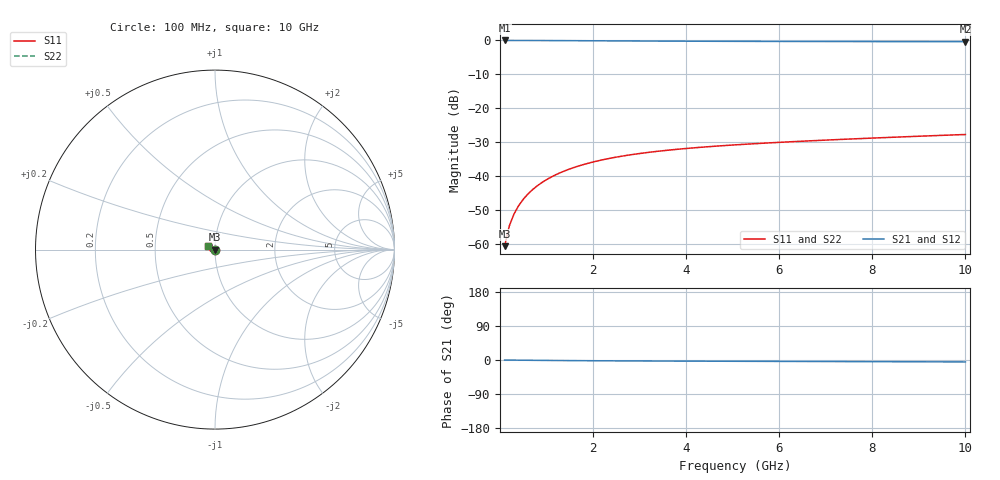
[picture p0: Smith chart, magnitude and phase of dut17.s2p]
! Touchstone file exported from HFSS 2024.1.0
!  File:  C:/UserFiles/LocalFiles/RDL_TSV_Batchsim/temp_TSV1_17_1779368717.aedt
!  Generated:  09:13:20 PM May 21, 2026
!  Design:  TSV1
!  Project:  temp_TSV1_17_1779368717
!  Setup:  Setup1
!  Solution:  Sweep
! Variables:
!  dtsv = 8.76um
!  hbump = 3um
!  htsv = 75.07um
!  lrdl = 252.1521522um
!  p = 40
!  p1 = 58.65um
!  t = 500um
!  trdl = 3um
!  wrdl = 24.89489489um
# GHz S MA R 50.000000
! Terminal data exported
! Port[1] = TSV22_T1
! Port[2] = TSV22_T2
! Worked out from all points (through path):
!   100 points, 100 MHz to 10 GHz, reference 50 ohm
!   highest |S21| = 0.00 dB at 100 MHz (marker M1); lowest = -0.4 dB at 10 GHz (marker M2)
!   lowest |S11| = -60.7 dB at 100 MHz (marker M3), VSWR 1.00, Z = 50 - j0.0916 ohm
!   |S11| at or under -10 dB: start of sweep to end of sweep
!   |S22| runs from -60.7 to -27.7 dB; largest |S21 - S12| = 7.7e-15
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0.1  0.0009275 -81.0  0.9998 -0.1  0.9998 -0.1  0.0009275 -81.0
! Gamma 0 0 0 0
! Port Impedance 50 0 50 0
0.2  0.001835 -88.6  0.9997 -0.2  0.9997 -0.2  0.001835 -88.6
0.3  0.002746 -92.7  0.9995 -0.3  0.9995 -0.3  0.002746 -92.7
0.4  0.003653 -95.8  0.9992 -0.5  0.9992 -0.5  0.003653 -95.8
0.5  0.004552 -98.6  0.9989 -0.6  0.9989 -0.6  0.004552 -98.6
0.6  0.005441 -101.2  0.9985 -0.7  0.9985 -0.7  0.005441 -101.2
0.7  0.006318 -103.6  0.9981 -0.8  0.9981 -0.8  0.006318 -103.6
0.8  0.007181 -106.0  0.9976 -0.9  0.9976 -0.9  0.007181 -106.0
0.9  0.00803 -108.3  0.997 -1.0  0.997 -1.0  0.00803 -108.3
1.1  0.009677 -112.7  0.9958 -1.2  0.9958 -1.2  0.009677 -112.7
1.4  0.01201 -119.0  0.9937 -1.5  0.9937 -1.5  0.01201 -119.0
1.6  0.01347 -123.0  0.9922 -1.6  0.9922 -1.6  0.01347 -123.0
1.8  0.01485 -126.8  0.9906 -1.8  0.9906 -1.8  0.01485 -126.8
2.1  0.01676 -132.3  0.9882 -2.0  0.9882 -2.0  0.01676 -132.3
2.5  0.01905 -139.0  0.985 -2.3  0.985 -2.3  0.01905 -139.0
2.9  0.02107 -145.3  0.982 -2.5  0.982 -2.5  0.02107 -145.3
3.4  0.02327 -152.4  0.9787 -2.7  0.9787 -2.7  0.02327 -152.4
4.2  0.02623 -162.4  0.9741 -3.1  0.9741 -3.1  0.02623 -162.4
5.1  0.02901 -172.0  0.9701 -3.4  0.9701 -3.4  0.02901 -172.0
6.7  0.03322 174.2  0.9651 -3.9  0.9651 -3.9  0.03322 174.2
8.4  0.0373 162.5  0.9617 -4.5  0.9617 -4.5  0.0373 162.6
10  0.04108 153.7  0.9595 -5.1  0.9595 -5.1  0.04108 153.7
